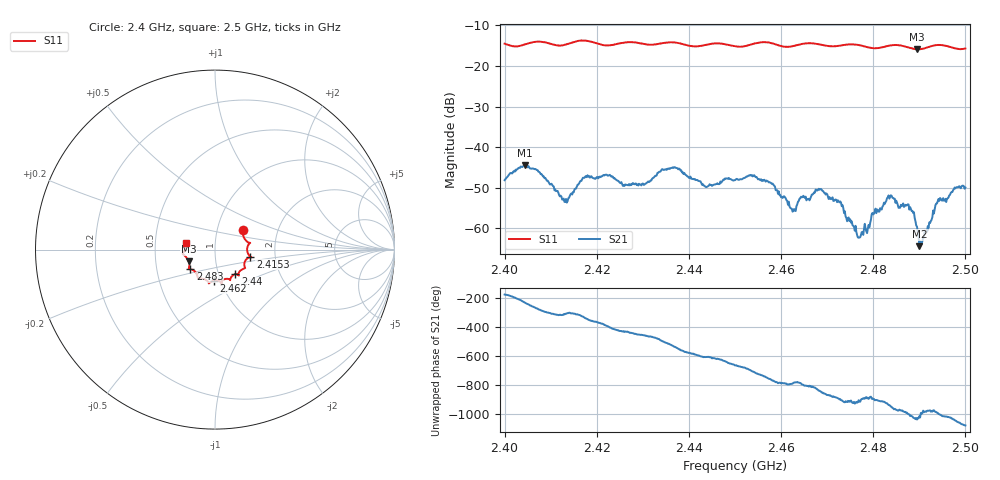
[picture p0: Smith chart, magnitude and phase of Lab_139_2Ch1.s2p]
# Hz S RI R 50
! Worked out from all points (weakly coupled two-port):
!   601 points, 2.4 GHz to 2.5 GHz, reference 50 ohm
!   highest |S21| = -44.55 dB at 2.4043 GHz (marker M1); lowest = -64.5 dB at 2.49 GHz (marker M2)
!   lowest |S11| = -15.9 dB at 2.4895 GHz (marker M3), VSWR 1.38, Z = 36.9 - j5 ohm
!   |S11| at or under -10 dB: start of sweep to end of sweep
!   S12 and S22 are empty: the file has one direction only
!   S11 on the Smith chart (normalised r, x): 2.4 GHz: 1.33, +0.29; 2.4153 GHz: 1.48, -0.12; 2.44 GHz: 1.21, -0.34; 2.462 GHz: 0.93, -0.33; 2.483 GHz: 0.74, -0.17; 2.5 GHz: 0.72, +0.06
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2.4e9  0.1553 0.1066  -0.00389 -0.000218  0 0  0 0
2.404333e9  0.1783 0.045  -0.0037 0.00462  0 0  0 0
2.413e9  0.1812 -0.0149  0.00145 0.00153  0 0  0 0
2.415333e9  0.1963 -0.0388  0.00194 0.00236  0 0  0 0
2.416667e9  0.2019 -0.0429  0.00312 0.00222  0 0  0 0
2.429833e9  0.1547 -0.1088  -0.000268 -0.0035  0 0  0 0
2.433333e9  0.1312 -0.1337  -0.00258 -0.00406  0 0  0 0
2.44e9  0.1141 -0.1367  -0.00329 0.00255  0 0  0 0
2.443667e9  0.0866 -0.1607  -0.00129 0.00295  0 0  0 0
2.45e9  0.0648 -0.1627  0.00215 0.00325  0 0  0 0
2.457333e9  0.0386 -0.1911  0.003 -0.00211  0 0  0 0
2.462e9  -0.00516 -0.1733  0.000582 -0.00168  0 0  0 0
2.466667e9  -0.0343 -0.1877  -0.000125 -0.00258  0 0  0 0
2.4725e9  -0.075 -0.1607  -0.00212 -0.000309  0 0  0 0
2.477e9  -0.0962 -0.1529  -0.000746 0.000167  0 0  0 0
2.483e9  -0.1376 -0.1095  -0.00214 0.000959  0 0  0 0
2.483333e9  -0.1401 -0.1091  -0.00206 0.00147  0 0  0 0
2.488e9  -0.1426 -0.0863  0.000646 0.0017  0 0  0 0
2.4895e9  -0.1464 -0.0659  0.000739 0.000729  0 0  0 0
2.49e9  -0.1497 -0.059  0.000234 0.00055  0 0  0 0
2.494167e9  -0.1805 -0.0224  0.000295 0.00227  0 0  0 0
2.5e9  -0.1599 0.0392  0.00316 0.000219  0 0  0 0
